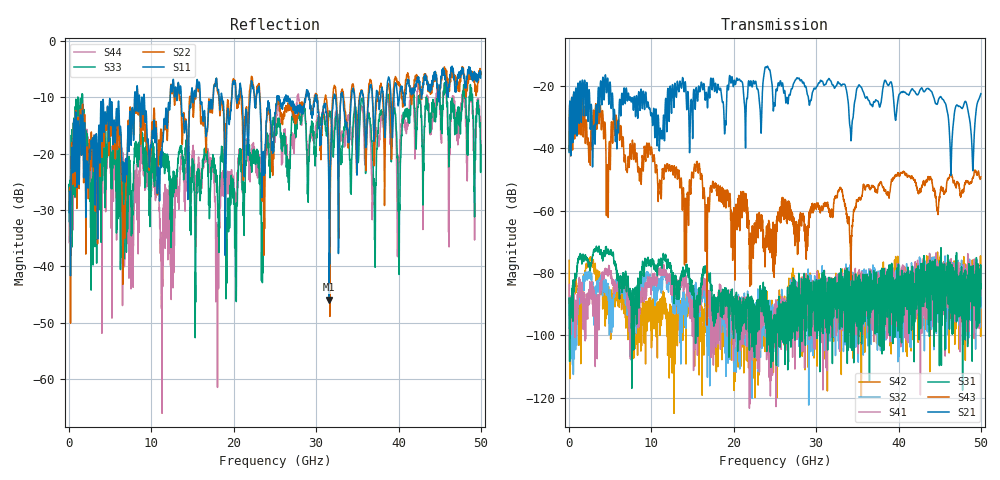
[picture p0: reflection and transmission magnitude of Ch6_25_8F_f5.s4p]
!Agilent Technologies,N5247A,US51170199,A.09.90.13
!Agilent N5247A: A.09.90.13
!Date: Wednesday, December 16, 2015 09:52:20
!Correction: S11(Full 4 Port(1,2,3,4))
!S12(Full 4 Port(1,2,3,4))
!S13(Full 4 Port(1,2,3,4))
!S14(Full 4 Port(1,2,3,4))
!S21(Full 4 Port(1,2,3,4))
!S22(Full 4 Port(1,2,3,4))
!S23(Full 4 Port(1,2,3,4))
!S24(Full 4 Port(1,2,3,4))
!S31(Full 4 Port(1,2,3,4))
!S32(Full 4 Port(1,2,3,4))
!S33(Full 4 Port(1,2,3,4))
!S34(Full 4 Port(1,2,3,4))
!S41(Full 4 Port(1,2,3,4))
!S42(Full 4 Port(1,2,3,4))
!S43(Full 4 Port(1,2,3,4))
!S44(Full 4 Port(1,2,3,4))
!S4P File: Measurements: <S11,S12,S13,S14>,
!<S21,S22,S23,S24>,
!<S31,S32,S33,S34>,
!<S41,S42,S43,S44>:
# Hz S  dB  R 50
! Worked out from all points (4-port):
!   3201 points, 10 MHz to 50 GHz, reference 50 ohm
!   strongest paths, dB at 10 MHz, 12.51 GHz, 25 GHz, 37.5 GHz, 50 GHz:
!     S21: -41.3, -21.5, -26.2, -24.9, -22.5
!     S43: -40.8, -45.8, -75.6, -52.6, -49.2
!     S31: -88.0, -83.6, -94.5, -84.1, -83.4
!     S41: -83.6, -82.9, -95.9, -96.7, -83.0
!     S32: -87.8, -88.2, -92.6, -96.4, -85.5
!     S42: -76.0, -102.3, -95.5, -87.4, -87.4
!   lowest |S11| = -45.9 dB at 31.58 GHz (marker M1), VSWR 1.01, Z = 49.5 - j0.0505 ohm
!   |S11| at or under -10 dB: start of sweep to 7.958 GHz; 9.141 GHz to 12.29 GHz (3.144 GHz wide, 29.4 % of centre); 26.6 GHz to 28.71 GHz (2.113 GHz wide, 7.64 % of centre)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
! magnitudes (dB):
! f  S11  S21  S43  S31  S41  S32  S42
! 10 MHz  -30.4  -41.3  -40.8  -88.0  -83.6  -87.8  -76.0
! 12.54 GHz  -8.5  -19.9  -46.3  -83.1  -84.6  -87.8  -90.7
! 22.11 GHz  -7.5  -18.7  -78.0  -99.2  -93.6  -92.1  -93.1
! 23.61 GHz  -20.9  -17.4  -69.9  -90.3  -96.8  -90.0  -95.1
! 31.58 GHz  -45.9  -17.7  -60.5  -94.5  -83.3  -85.9  -95.6
! 46.38 GHz  -4.6  -47.8  -48.2  -79.8  -75.4  -77.1  -84.8
! 50 GHz  -5.6  -22.5  -49.2  -83.4  -83.0  -85.5  -87.4
